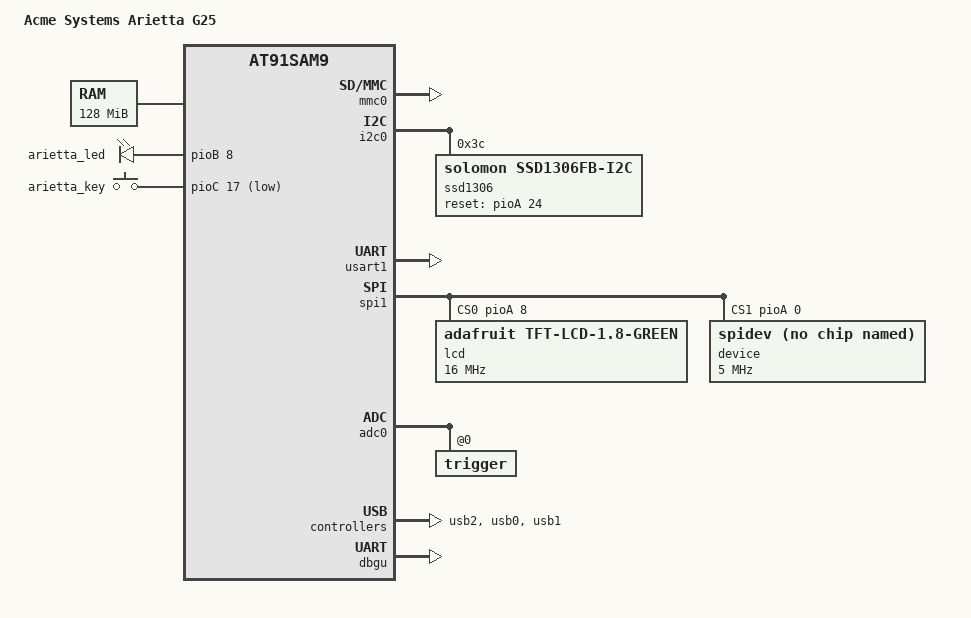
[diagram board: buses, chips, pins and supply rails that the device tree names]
/*
 * acme-arietta.dts - Device Tree file for Arietta G25
 * Generate by http://acme.systems/pinout_arietta
 */
/dts-v1/;
#include "at91sam9g25.dtsi"
/ {
	model = "Acme Systems Arietta G25";
	compatible = "acme,ariettag25", "atmel,at91sam9x5ek","atmel,at91sam9x5", "atmel,at91sam9";
	aliases {
		serial0 = &dbgu;
		serial1 = &usart0;
		serial2 = &usart1;
		serial3 = &usart2;
		serial4 = &usart3;
		serial5 = &uart0;
		serial6 = &uart1;
	};
	memory {
		reg = <0x20000000 0x8000000>;
	};
	clocks {
		#address-cells = <1>;
		#size-cells = <1>;
		ranges;
		main_clock: clock@0 {
			compatible = "atmel,osc", "fixed-clock";
			clock-frequency = <12000000>;
		};
	};
	ahb {
		apb {
			mmc0: mmc@f0008000 {
				pinctrl-0 = <
				  &pinctrl_mmc0_slot0_clk_cmd_dat0
				  &pinctrl_mmc0_slot0_dat1_3>;
				status = "okay";
				slot@0 {
					reg = <0>;
					bus-width = <4>;
				};
			};
			i2c0: i2c@f8010000 {
				status ="okay";

				ssd1306: oled@3c {
					compatible = "solomon,ssd1306fb-i2c";
					reg = <0x3c>;
					reset-gpios = <&pioA 24 0>;
					solomon,height = <32>;
					solomon,width = <128>;
					solomon,page-offset = <0>;
				};
			};
			
			
			
			usart1: serial@f8020000 {
				pinctrl-0 = <&pinctrl_usart1>;
				status ="okay";
			};
			
			
			spi1: spi@f0004000 {
				status = "okay";
				cs-gpios = <&pioA 8 0>, <&pioA 0 0>, <&pioA 31 0>, <&pioA 30 0>;
				
				lcd@0 {
                                	#address-cells = <1>;
                                	#size-cells = <0>;

                                	compatible = "adafruit,tft-lcd-1.8-green", "sitronix,st7735";
                                	reg = <0>;

                                	spi-max-frequency = <16000000>;
                                	spi-cpol;
                                	spi-cpha;

                                	st7735-rst = <&pioA 25 0>;
                                	st7735-dc = <&pioA 26 0>;
                        	};

				device@1 {
					compatible = "spidev";
					spi-max-frequency = <5000000>;	    // 5 MHz
					reg = <1>;
				};
			};

			
			adc0: adc@f804c000 {
				status = "okay";
				atmel,adc-channels-used = <0xf>;
				atmel,adc-num-channels = <4>;
				compatible = "atmel,at91sam9x5-adc";
				atmel,adc-startup-time = <40>;
				atmel,adc-status-register = <0x1c>;
				atmel,adc-trigger-register = <0x08>;
				atmel,adc-use-external;
				atmel,adc-vref = <3250>;
				atmel,adc-res = <8 10>;
				atmel,adc-res-names = "lowres", "highres";
				atmel,adc-use-res = "highres";
				trigger@0 {
					trigger-name = "continuous";
					trigger-value = <0x6>;
				};
			};

			
			ssc0: ssc@f0010000 {
				status = "okay";
			};
			usb2: gadget@f803c000 {
				status = "okay";
			};
			dbgu: serial@fffff200 {
				status = "okay";
			};
			pinctrl@fffff400 {
			};
			rtc@fffffeb0 {
				status = "okay";
			};
		};
		usb0: ohci@00600000 {
			status = "okay";
			num-ports = <3>;
		};
		usb1: ehci@00700000 {
			status = "okay";
		};
	};
	leds {
		compatible = "gpio-leds";
		arietta_led {
			label = "arietta_led";
			gpios = <&pioB 8 GPIO_ACTIVE_HIGH>; /* PB8 */
			linux,default-trigger = "heartbeat";
		};
	};
	keys {
		compatible = "gpio-keys";
		arietta_key {
			label = "arietta_key";
			gpios = <&pioC 17 GPIO_ACTIVE_LOW>; /* PC17 */
			linux,code = <116>; /* this is the key power button defined in Linux input.h */
			linux,input-type = <1>; /* EV_KEY */
			gpio-key,wakeup;
		};
	};
};
